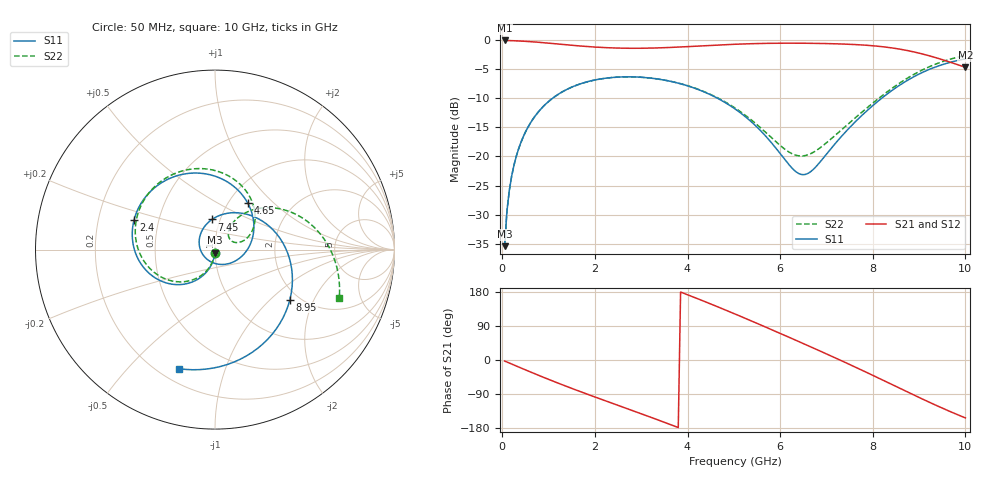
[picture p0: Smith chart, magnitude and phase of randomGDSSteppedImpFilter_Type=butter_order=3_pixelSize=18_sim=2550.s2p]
! freq	dB(S11)	phase(S11)	dB(S12)	phase(S12)
!  dB(S21)	phase(S21)	dB(S22)	phase(S22)
!S-par simulation data
#  GHz  S  DB  R 50
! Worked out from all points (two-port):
!   200 points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, 50 MHz to 10 GHz, reference 50 ohm
!   highest |S21| = 0.00 dB at 50 MHz (marker M1); lowest = -4.6 dB at 10 GHz (marker M2)
!   |S21| within 3 dB of the highest: start of sweep to 9.375 GHz
!   lowest |S11| = -35.5 dB at 50 MHz (marker M3), VSWR 1.03, Z = 49.9 - j1.68 ohm
!   |S11| at or under -10 dB: start of sweep to 1.08 GHz; 4.656 GHz to 8.186 GHz (3.53 GHz wide, 55 % of centre)
!   |S22| runs from -35.5 to -2.6 dB; largest |S21 - S12| = 0
!   S11 on the Smith chart (normalised r, x): 50 MHz: 1.00, -0.03; 2.4 GHz: 0.36, +0.16; 4.65 GHz: 1.22, +0.71; 7.45 GHz: 0.91, +0.32; 8.95 GHz: 1.79, -1.34; 10 GHz: 0.28, -0.70
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0.05  -35.45 -92.5  -0.00 -2.7  -0.00 -2.7  -35.45 -92.7
0.1  -29.44 -95.2  -0.01 -5.3  -0.01 -5.3  -29.45 -95.7
0.2  -23.47 -100.4  -0.04 -10.5  -0.04 -10.5  -23.48 -101.4
0.5  -15.79 -115.4  -0.15 -26.1  -0.15 -26.1  -15.79 -117.9
1.1  -9.88 -143.9  -0.54 -56.0  -0.54 -56.0  -9.88 -149.3
1.75  -7.31 -172.8  -1.00 -86.4  -1.00 -86.4  -7.32 178.8
2.4  -6.37 159.7  -1.29 -115.3  -1.29 -115.3  -6.37 148.5
3.4  -6.70 116.9  -1.28 -159.8  -1.28 -159.8  -6.70 102.8
4.05  -7.95 86.5  -1.05 169.8  -1.05 169.8  -7.92 73.4
4.65  -9.98 54.9  -0.80 140.4  -0.80 140.4  -9.89 47.4
5.05  -11.94 31.0  -0.65 120.1  -0.65 120.1  -11.77 32.1
5.45  -14.55 3.3  -0.55 99.4  -0.55 99.4  -14.17 20.6
5.85  -17.99 -31.9  -0.49 78.2  -0.49 78.2  -17.02 16.6
6.35  -22.68 -101.5  -0.47 51.5  -0.47 51.5  -19.80 30.0
6.7  -22.34 -167.9  -0.50 32.5  -0.50 32.5  -19.35 46.0
7.1  -18.62 133.9  -0.56 10.6  -0.56 10.6  -16.97 55.5
7.45  -15.44 95.6  -0.65 -9.0  -0.65 -9.0  -14.53 56.1
7.85  -12.29 57.5  -0.82 -31.7  -0.82 -31.7  -11.79 51.2
8.35  -8.99 14.1  -1.22 -60.9  -1.22 -60.9  -8.63 39.1
8.95  -5.99 -33.7  -2.09 -96.0  -2.09 -96.0  -5.58 18.7
9.5  -4.18 -73.7  -3.31 -126.9  -3.31 -126.9  -3.66 -2.4
10  -3.18 -107.0  -4.63 -152.8  -4.63 -152.8  -2.58 -21.3
